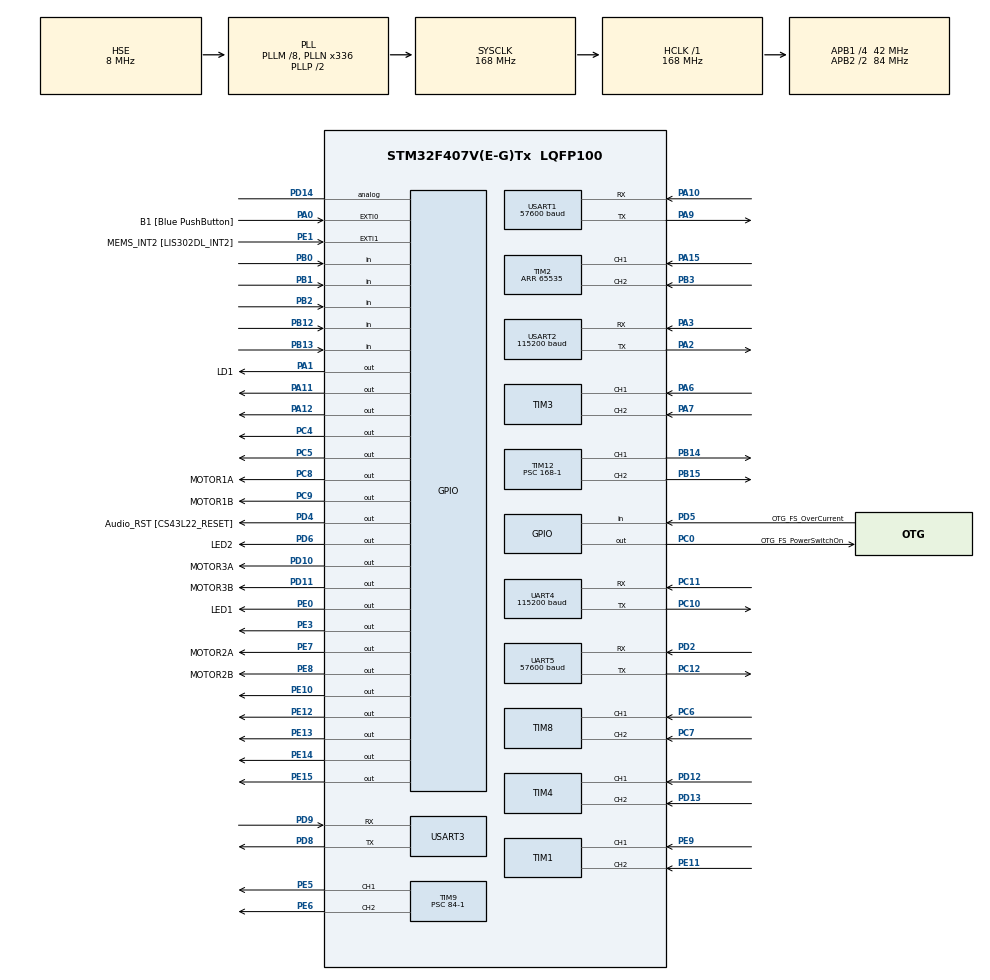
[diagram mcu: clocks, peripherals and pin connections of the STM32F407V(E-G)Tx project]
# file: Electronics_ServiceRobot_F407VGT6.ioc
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Dma.Request0=USART2_RX
Dma.Request1=UART5_RX
Dma.Request2=UART5_TX
Dma.Request3=UART4_RX
Dma.UART4_RX.3.Direction=DMA_PERIPH_TO_MEMORY
Dma.UART4_RX.3.FIFOMode=DMA_FIFOMODE_DISABLE
Dma.UART4_RX.3.Instance=DMA1_Stream2
Dma.UART4_RX.3.MemDataAlignment=DMA_MDATAALIGN_BYTE
Dma.UART4_RX.3.MemInc=DMA_MINC_ENABLE
Dma.UART4_RX.3.Mode=DMA_NORMAL
Dma.UART4_RX.3.PeriphDataAlignment=DMA_PDATAALIGN_BYTE
Dma.UART4_RX.3.PeriphInc=DMA_PINC_DISABLE
Dma.UART4_RX.3.Priority=DMA_PRIORITY_LOW
Dma.UART5_RX.1.Direction=DMA_PERIPH_TO_MEMORY
Dma.UART5_RX.1.FIFOMode=DMA_FIFOMODE_DISABLE
Dma.UART5_RX.1.Instance=DMA1_Stream0
Dma.UART5_RX.1.MemDataAlignment=DMA_MDATAALIGN_BYTE
Dma.UART5_RX.1.MemInc=DMA_MINC_ENABLE
Dma.UART5_RX.1.Mode=DMA_NORMAL
Dma.UART5_RX.1.PeriphDataAlignment=DMA_PDATAALIGN_BYTE
Dma.UART5_RX.1.PeriphInc=DMA_PINC_DISABLE
Dma.UART5_RX.1.Priority=DMA_PRIORITY_LOW
Dma.UART5_TX.2.Direction=DMA_MEMORY_TO_PERIPH
Dma.UART5_TX.2.FIFOMode=DMA_FIFOMODE_DISABLE
Dma.UART5_TX.2.Instance=DMA1_Stream7
Dma.UART5_TX.2.MemDataAlignment=DMA_MDATAALIGN_BYTE
Dma.UART5_TX.2.MemInc=DMA_MINC_ENABLE
Dma.UART5_TX.2.Mode=DMA_NORMAL
Dma.UART5_TX.2.PeriphDataAlignment=DMA_PDATAALIGN_BYTE
Dma.UART5_TX.2.PeriphInc=DMA_PINC_DISABLE
Dma.UART5_TX.2.Priority=DMA_PRIORITY_LOW
Dma.USART2_RX.0.Direction=DMA_PERIPH_TO_MEMORY
Dma.USART2_RX.0.FIFOMode=DMA_FIFOMODE_DISABLE
Dma.USART2_RX.0.Instance=DMA1_Stream5
Dma.USART2_RX.0.MemDataAlignment=DMA_MDATAALIGN_BYTE
Dma.USART2_RX.0.MemInc=DMA_MINC_ENABLE
Dma.USART2_RX.0.Mode=DMA_NORMAL
Dma.USART2_RX.0.PeriphDataAlignment=DMA_PDATAALIGN_BYTE
Dma.USART2_RX.0.PeriphInc=DMA_PINC_DISABLE
Dma.USART2_RX.0.Priority=DMA_PRIORITY_LOW
FREERTOS.Tasks01=joys_imuTask,0,128,Startjoys_imuTask,Default,NULL,Dynamic,NULL,NULL;rosserialTask,0,2048,StartrosserialTask,Default,NULL,Dynamic,NULL,NULL;out_motorTask,0,128,Startout_motorTask,Default,NULL,Dynamic,NULL,NULL
FREERTOS.configUSE_NEWLIB_REENTRANT=1
Mcu.Family=STM32F4
Mcu.Name=STM32F407V(E-G)Tx
Mcu.Package=LQFP100
NVIC.DMA1_Stream0_IRQn=true\:5\:0\:false\:false\:true\:true\:false\:true\:true
NVIC.DMA1_Stream2_IRQn=true\:5\:0\:false\:false\:true\:true\:false\:true\:true
NVIC.DMA1_Stream5_IRQn=true\:5\:0\:false\:false\:true\:true\:false\:true\:true
NVIC.DMA1_Stream7_IRQn=true\:5\:0\:false\:false\:true\:true\:false\:true\:true
NVIC.PriorityGroup=NVIC_PRIORITYGROUP_4
NVIC.TIM1_CC_IRQn=true\:5\:0\:false\:false\:true\:true\:true\:true\:true
NVIC.TIM2_IRQn=true\:5\:0\:false\:false\:true\:true\:true\:true\:true
NVIC.TIM3_IRQn=true\:5\:0\:false\:false\:true\:true\:true\:true\:true
NVIC.TIM4_IRQn=true\:5\:0\:false\:false\:true\:true\:true\:true\:true
NVIC.TIM6_DAC_IRQn=true\:15\:0\:false\:false\:true\:false\:false\:true\:true
NVIC.TIM7_IRQn=true\:5\:0\:false\:false\:true\:true\:true\:true\:true
NVIC.TIM8_CC_IRQn=true\:5\:0\:false\:false\:true\:true\:true\:true\:true
NVIC.TimeBase=TIM6_DAC_IRQn
NVIC.TimeBaseIP=TIM6
NVIC.UART4_IRQn=true\:5\:0\:false\:false\:true\:true\:true\:true\:true
NVIC.UART5_IRQn=true\:5\:0\:false\:false\:true\:true\:true\:true\:true
NVIC.USART1_IRQn=true\:5\:0\:false\:false\:true\:true\:true\:true\:true
NVIC.USART2_IRQn=true\:5\:0\:false\:false\:true\:true\:true\:true\:true
PA0-WKUP.GPIO_Label=B1 [Blue PushButton]
PA0-WKUP.GPIO_ModeDefaultEXTI=GPIO_MODE_EVT_RISING
PA0-WKUP.GPIO_PuPd=GPIO_NOPULL
PA0-WKUP.Signal=GPXTI0
PA1.GPIO_Label=LD1
PA1.Signal=GPIO_Output
PA10.Mode=Asynchronous
PA10.Signal=USART1_RX
PA11.Signal=GPIO_Output
PA12.Signal=GPIO_Output
PA13.GPIO_Label=SWDIO
PA13.Mode=Serial_Wire
PA13.Signal=SYS_JTMS-SWDIO
PA14.GPIO_Label=SWCLK
PA14.Mode=Serial_Wire
PA14.Signal=SYS_JTCK-SWCLK
PA15.Signal=S_TIM2_CH1_ETR
PA2.Mode=Asynchronous
PA2.Signal=USART2_TX
PA3.Mode=Asynchronous
PA3.Signal=USART2_RX
PA4.Signal=SPI1_NSS
PA6.Signal=S_TIM3_CH1
PA7.Signal=S_TIM3_CH2
PA9.Mode=Asynchronous
PA9.Signal=USART1_TX
PB0.Signal=GPIO_Input
PB1.Signal=GPIO_Input
PB12.Signal=GPIO_Input
PB13.Signal=GPIO_Input
PB14.Signal=S_TIM12_CH1
PB15.Signal=S_TIM12_CH2
PB2.Signal=GPIO_Input
PB3.Signal=S_TIM2_CH2
PB8.GPIO_Label=Audio_SCL [CS43L22_SCL]
PB8.GPIO_Mode=GPIO_MODE_AF_OD
PB8.GPIO_Pu=GPIO_PULLUP
PB8.GPIO_Speed=GPIO_SPEED_FREQ_LOW
PB8.Signal=I2C1_SCL
PB9.GPIO_Label=Audio_SDA [CS43L22_SDA]
PB9.GPIO_Mode=GPIO_MODE_AF_OD
PB9.GPIO_Pu=GPIO_PULLUP
PB9.GPIO_PuPd=GPIO_NOPULL
PB9.GPIO_Speed=GPIO_SPEED_FREQ_LOW
PB9.Signal=I2C1_SDA
PC0.GPIO_Label=OTG_FS_PowerSwitchOn
PC0.GPIO_PuPd=GPIO_NOPULL
PC0.GPIO_Speed=GPIO_SPEED_FREQ_LOW
PC0.PinState=GPIO_PIN_SET
PC0.Signal=GPIO_Output
PC1.Signal=ADCx_IN11
PC10.Mode=Asynchronous
PC10.Signal=UART4_TX
PC11.Mode=Asynchronous
PC11.Signal=UART4_RX
PC12.Mode=Asynchronous
PC12.Signal=UART5_TX
PC14-OSC32_IN.GPIO_Label=PC14-OSC32_IN
PC14-OSC32_IN.Mode=LSE-External-Oscillator
PC14-OSC32_IN.Signal=RCC_OSC32_IN
PC15-OSC32_OUT.GPIO_Label=PC15-OSC32_OUT
PC15-OSC32_OUT.Mode=LSE-External-Oscillator
PC15-OSC32_OUT.Signal=RCC_OSC32_OUT
PC2.Signal=ADCx_IN12
PC4.Signal=GPIO_Output
PC5.Signal=GPIO_Output
PC6.Signal=S_TIM8_CH1
PC7.Signal=S_TIM8_CH2
PC8.GPIO_Label=MOTOR1A
PC8.Signal=GPIO_Output
PC9.GPIO_Label=MOTOR1B
PC9.Signal=GPIO_Output
PD0.Signal=CAN1_RX
PD1.Signal=CAN1_TX
PD10.GPIO_Label=MOTOR3A
PD10.Signal=GPIO_Output
PD11.GPIO_Label=MOTOR3B
PD11.Signal=GPIO_Output
PD12.Signal=S_TIM4_CH1
PD13.Signal=S_TIM4_CH2
PD14.Signal=GPIO_Analog
PD2.Mode=Asynchronous
PD2.Signal=UART5_RX
PD4.GPIO_Label=Audio_RST [CS43L22_RESET]
PD4.GPIO_PuPd=GPIO_NOPULL
PD4.GPIO_Speed=GPIO_SPEED_FREQ_LOW
PD4.Signal=GPIO_Output
PD5.GPIO_Label=OTG_FS_OverCurrent
PD5.GPIO_Mode=GPIO_MODE_INPUT
PD5.GPIO_PuPd=GPIO_NOPULL
PD5.Signal=GPIO_Input
PD6.GPIO_Label=LED2
PD6.Signal=GPIO_Output
PD8.Mode=Asynchronous
PD8.Signal=USART3_TX
PD9.Mode=Asynchronous
PD9.Signal=USART3_RX
PE0.GPIO_Label=LED1
PE0.Signal=GPIO_Output
PE1.GPIO_Label=MEMS_INT2 [LIS302DL_INT2]
PE1.GPIO_ModeDefaultEXTI=GPIO_MODE_EVT_RISING
PE1.GPIO_PuPd=GPIO_NOPULL
PE1.Signal=GPXTI1
PE10.Signal=GPIO_Output
PE11.Signal=S_TIM1_CH2
PE12.Signal=GPIO_Output
PE13.Signal=GPIO_Output
PE14.Signal=GPIO_Output
PE15.Signal=GPIO_Output
PE3.Signal=GPIO_Output
PE5.Signal=S_TIM9_CH1
PE6.Signal=S_TIM9_CH2
PE7.GPIO_Label=MOTOR2A
PE7.Signal=GPIO_Output
PE8.GPIO_Label=MOTOR2B
PE8.Signal=GPIO_Output
PE9.Signal=S_TIM1_CH1
PH0-OSC_IN.GPIO_Label=PH0-OSC_IN
PH0-OSC_IN.Mode=HSE-External-Oscillator
PH0-OSC_IN.Signal=RCC_OSC_IN
PH1-OSC_OUT.GPIO_Label=PH1-OSC_OUT
PH1-OSC_OUT.Mode=HSE-External-Oscillator
PH1-OSC_OUT.Signal=RCC_OSC_OUT
ProjectManager.HeapSize=0x200
ProjectManager.StackSize=0x400
ProjectManager.TargetToolchain=STM32CubeIDE
RCC.48MHZClocksFreq_Value=48000000
RCC.AHBFreq_Value=168000000
RCC.APB1CLKDivider=RCC_HCLK_DIV4
RCC.APB1Freq_Value=42000000
RCC.APB1TimFreq_Value=84000000
RCC.APB2CLKDivider=RCC_HCLK_DIV2
RCC.APB2Freq_Value=84000000
RCC.APB2TimFreq_Value=168000000
RCC.CortexFreq_Value=168000000
RCC.HCLKFreq_Value=168000000
RCC.HSE_VALUE=8000000
RCC.HSI_VALUE=16000000
RCC.PLLM=8
RCC.PLLN=336
RCC.PLLQ=7
RCC.PLLSourceVirtual=RCC_PLLSOURCE_HSE
RCC.SYSCLKFreq_VALUE=168000000
RCC.SYSCLKSource=RCC_SYSCLKSOURCE_PLLCLK
RCC.VCOOutputFreq_Value=336000000
SH.ADCx_IN11.0=ADC1_IN11
SH.ADCx_IN12.0=ADC1_IN12
SH.S_TIM12_CH1.0=TIM12_CH1,PWM Generation1 CH1
SH.S_TIM12_CH2.0=TIM12_CH2,PWM Generation2 CH2
SH.S_TIM1_CH1.0=TIM1_CH1,Encoder_Interface
SH.S_TIM1_CH2.0=TIM1_CH2,Encoder_Interface
SH.S_TIM2_CH1_ETR.0=TIM2_CH1,Encoder_Interface
SH.S_TIM2_CH2.0=TIM2_CH2,Encoder_Interface
SH.S_TIM3_CH1.0=TIM3_CH1,Encoder_Interface
SH.S_TIM3_CH2.0=TIM3_CH2,Encoder_Interface
SH.S_TIM4_CH1.0=TIM4_CH1,Encoder_Interface
SH.S_TIM4_CH2.0=TIM4_CH2,Encoder_Interface
SH.S_TIM8_CH1.0=TIM8_CH1,Encoder_Interface
SH.S_TIM8_CH2.0=TIM8_CH2,Encoder_Interface
SH.S_TIM9_CH1.0=TIM9_CH1,PWM Generation1 CH1
SH.S_TIM9_CH2.0=TIM9_CH2,PWM Generation2 CH2
TIM1.CounterMode=TIM_COUNTERMODE_UP
TIM12.Channel-PWM\ Generation1\ CH1=TIM_CHANNEL_1
TIM12.Channel-PWM\ Generation2\ CH2=TIM_CHANNEL_2
TIM12.Period=200-1
TIM12.Prescaler=168-1
TIM13.Period=200-1
TIM13.Prescaler=168-1
TIM2.Period=65535
TIM7.Period=200-1
TIM7.Prescaler=4000-1
TIM8.CounterMode=TIM_COUNTERMODE_UP
TIM9.Channel-PWM\ Generation1\ CH1=TIM_CHANNEL_1
TIM9.Channel-PWM\ Generation2\ CH2=TIM_CHANNEL_2
TIM9.Period=200-1
TIM9.Prescaler=84-1
UART4.BaudRate=115200
UART4.VirtualMode=Asynchronous
UART5.BaudRate=57600
UART5.VirtualMode=Asynchronous
USART1.BaudRate=57600
USART1.VirtualMode=VM_ASYNC
USART2.BaudRate=115200
USART2.VirtualMode=VM_ASYNC
USART3.VirtualMode=VM_ASYNC
VP_FREERTOS_VS_CMSIS_V1.Mode=CMSIS_V1
VP_SYS_VS_tim6.Mode=TIM6
VP_TIM12_VS_ClockSourceINT.Mode=Internal
VP_TIM13_VS_ClockSourceINT.Mode=Enable_Timer
VP_TIM7_VS_ClockSourceINT.Mode=Enable_Timer
VP_TIM9_VS_ClockSourceINT.Mode=Internal
board=STM32F407G-DISC1

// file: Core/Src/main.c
/* USER CODE BEGIN Header */
/**
  ******************************************************************************
  * @file           : main.c
  * @brief          : Main program body
  ******************************************************************************
  * @attention
  *
  * Copyright (c) 2023 STMicroelectronics.
  * All rights reserved.
  *
  * This software is licensed under terms that can be found in the LICENSE file
  * in the root directory of this software component.
  * If no LICENSE file comes with this software, it is provided AS-IS.
  *
  ******************************************************************************
  */
/* USER CODE END Header */
#include "main.h"
#include "cmsis_os.h"
#include "dma.h"
#include "tim.h"
#include "usart.h"
#include "gpio.h"

/* USER CODE BEGIN Includes */
#include "math.h"
#include <control_motor.h>
#include "mainpp.h"
/* USER CODE END Includes */

/* USER CODE BEGIN PD */
//==================CONTROL MOTOR================//
float KP_motor = 3 ;
float KI_motor = 0 ;
float KD_motor = 0 ;
float PID_dt = 1 ;

float vel_x;
float vel_y;
float vel_th;

//================CONTROL MOTOR MODE RC================//
int encoder[3];
short int motor_velo[3];
short int motor_SetPoint[3];
float proportional_motor[3], integral_motor[3], derivative_motor[3];
float prev_enc[3], error_velo_motor[3], previous_error_velo_motor[3];
float outputPWM[3];

//=====================JOYSTICK RC==================//
uint8_t joystick_buf[13];
uint8_t joystick_x_buf, joystick_y_buf, joystick_z_buf;
int8_t joystick_x, joystick_y, joystick_z;
int joystick_bt_timeout = 300, joystick_bt_counter = 0;
int joystick_mode, mode;
int joystick_increase_speed, joystick_decrease_speed, speed, lock_increase_speed, lock_decrease_speed;

//====================IMU BNO055=====================//
char imu_buf[32];
float euler_x;
float euler_y;
float euler_z;
float quat_w;
float quat_x;
float quat_y;
float quat_z;

float gyro_angle_w = 90.0, gyro_offset_w = 90.0;
float gyro_angle_z = 90.0, gyro_offset_z = 90.0;

//====================ODOMETRY=========================//
int odometry[2];

float x_velocity;
float y_velocity;
float angular_velocity;

//================COMMMUNICATION ROSSERIAL================//
uint32_t tick;
float dummy;

/* USER CODE END PD */

void SystemClock_Config(void);
void MX_FREERTOS_Init(void);

/* USER CODE BEGIN 0 */
void HAL_TIM_IC_CaptureCallback(TIM_HandleTypeDef *htim){
	if(htim->Instance == TIM2){
		encoder[0] = __HAL_TIM_GET_COUNTER(&htim2);
	}
	if(htim->Instance == TIM3){
		encoder[1] = __HAL_TIM_GET_COUNTER(&htim3);
	}
	if(htim->Instance == TIM4){
		encoder[2] = __HAL_TIM_GET_COUNTER(&htim4);
	}

	if(htim->Instance == TIM1){
		odometry[0] = __HAL_TIM_GET_COUNTER(&htim1);
	}
	if(htim->Instance == TIM8){
		odometry[1] = __HAL_TIM_GET_COUNTER(&htim8);
	}
}

/* USER CODE END 0 */

int main(void)
{

  /* MCU Configuration--------------------------------------------------------*/

  /* Reset of all peripherals, Initializes the Flash interface and the Systick. */
///  HAL_Init();

  /* Configure the system clock */
  SystemClock_Config();

  /* Initialize all configured peripherals */
  MX_GPIO_Init();
  MX_DMA_Init();
  MX_TIM1_Init();
  MX_TIM9_Init();
  MX_TIM4_Init();
  MX_TIM3_Init();
  MX_UART4_Init();
  MX_USART3_UART_Init();
  MX_TIM12_Init();
  MX_USART2_UART_Init();
  MX_TIM2_Init();
  MX_TIM8_Init();
  MX_USART1_UART_Init();
  MX_TIM7_Init();
  MX_TIM13_Init();
  MX_UART5_Init();
  /* USER CODE BEGIN 2 */
  HAL_TIM_Base_Start_IT(&htim7);
  HAL_TIM_Base_Start_IT(&htim13);

  //============ACTUATOR MOTOR============
  HAL_TIM_PWM_Start(&htim9, TIM_CHANNEL_1);//M1
  HAL_TIM_PWM_Start(&htim9, TIM_CHANNEL_2);//M2
  HAL_TIM_PWM_Start(&htim12, TIM_CHANNEL_2);//M3

  //=============EXTERNAL PWM=============
  HAL_TIM_PWM_Start(&htim12, TIM_CHANNEL_1);//EXTERNAL PWM

  //=============ENCODER MOTOR============
  HAL_TIM_Encoder_Start_IT(&htim2,TIM_CHANNEL_ALL);
  HAL_TIM_Encoder_Start_IT(&htim3,TIM_CHANNEL_ALL);
  HAL_TIM_Encoder_Start_IT(&htim4,TIM_CHANNEL_ALL);

  HAL_TIM_Encoder_Start_IT(&htim1,TIM_CHANNEL_ALL);
  HAL_TIM_Encoder_Start_IT(&htim8,TIM_CHANNEL_ALL);
  /* USER CODE END 2 */

  /* Call init function for freertos objects (in freertos.c) */
  MX_FREERTOS_Init();

  /* Start scheduler */
  osKernelStart();

  /* We should never get here as control is now taken by the scheduler */
  /* Infinite loop */
  while (1)
  {

  }
}

void SystemClock_Config(void)
{
  RCC_OscInitTypeDef RCC_OscInitStruct = {0};
  RCC_ClkInitTypeDef RCC_ClkInitStruct = {0};

  /** Configure the main internal regulator output voltage
  */
  __HAL_RCC_PWR_CLK_ENABLE();
  __HAL_PWR_VOLTAGESCALING_CONFIG(PWR_REGULATOR_VOLTAGE_SCALE1);

  /** Initializes the RCC Oscillators according to the specified parameters
  * in the RCC_OscInitTypeDef structure.
  */
  RCC_OscInitStruct.OscillatorType = RCC_OSCILLATORTYPE_HSE;
  RCC_OscInitStruct.HSEState = RCC_HSE_ON;
  RCC_OscInitStruct.PLL.PLLState = RCC_PLL_ON;
  RCC_OscInitStruct.PLL.PLLSource = RCC_PLLSOURCE_HSE;
  RCC_OscInitStruct.PLL.PLLM = 8;
  RCC_OscInitStruct.PLL.PLLN = 336;
  RCC_OscInitStruct.PLL.PLLP = RCC_PLLP_DIV2;
  RCC_OscInitStruct.PLL.PLLQ = 7;
  if (HAL_RCC_OscConfig(&RCC_OscInitStruct) != HAL_OK)
  {
    Error_Handler();
  }

  /** Initializes the CPU, AHB and APB buses clocks
  */
  RCC_ClkInitStruct.ClockType = RCC_CLOCKTYPE_HCLK|RCC_CLOCKTYPE_SYSCLK
                              |RCC_CLOCKTYPE_PCLK1|RCC_CLOCKTYPE_PCLK2;
  RCC_ClkInitStruct.SYSCLKSource = RCC_SYSCLKSOURCE_PLLCLK;
  RCC_ClkInitStruct.AHBCLKDivider = RCC_SYSCLK_DIV1;
  RCC_ClkInitStruct.APB1CLKDivider = RCC_HCLK_DIV4;
  RCC_ClkInitStruct.APB2CLKDivider = RCC_HCLK_DIV2;

  if (HAL_RCC_ClockConfig(&RCC_ClkInitStruct, FLASH_LATENCY_5) != HAL_OK)
  {
    Error_Handler();
  }
}

void HAL_TIM_PeriodElapsedCallback(TIM_HandleTypeDef *htim)
{
  /* USER CODE BEGIN Callback 0 */
	if (htim->Instance == TIM7){
		motor_VeloControl();
	}
	if (htim->Instance == TIM13){
//		motor_VectorKinematic(joystick_x, joystick_y, joystick_z);
	}
  /* USER CODE END Callback 0 */
  if (htim->Instance == TIM6) {
    HAL_IncTick();
  }
}

void Error_Handler(void)
{
  __disable_irq();
  while (1)
  {
  }
}

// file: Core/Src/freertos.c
/* USER CODE BEGIN Header */
/**
  ******************************************************************************
  * File Name          : freertos.c
  * Description        : Code for freertos applications
  ******************************************************************************
  * @attention
  *
  * Copyright (c) 2023 STMicroelectronics.
  * All rights reserved.
  *
  * This software is licensed under terms that can be found in the LICENSE file
  * in the root directory of this software component.
  * If no LICENSE file comes with this software, it is provided AS-IS.
  *
  ******************************************************************************
  */
/* USER CODE END Header */

#include "FreeRTOS.h"
#include "task.h"
#include "main.h"
#include "cmsis_os.h"

/* USER CODE BEGIN Includes */
#include "dma.h"
#include "tim.h"
#include "usart.h"
#include "gpio.h"
#include "string.h"
#include "mainpp.h"
#include <control_motor.h>
/* USER CODE END Includes */

/* USER CODE BEGIN Variables */
//==================CONTROL MOTOR================//
extern float vel_x;
extern float vel_y;
extern float vel_th;
extern float outputPWM[3];

//=====================JOYSTICK RC==================//
extern uint8_t joystick_buf[13];
extern uint8_t joystick_x_buf, joystick_y_buf, joystick_z_buf;
extern int8_t joystick_x, joystick_y, joystick_z;
extern int  joystick_bt_timeout, joystick_bt_counter;
extern int joystick_mode, mode;
extern int joystick_increase_speed, joystick_decrease_speed, speed, lock_increase_speed, lock_decrease_speed;

//====================IMU BNO055=====================//
extern char imu_buf[32];
extern float euler_x;
extern float euler_y;
extern float euler_z;
extern float quat_w;
extern float quat_x;
extern float quat_y;
extern float quat_z;

extern float gyro_angle_w, gyro_offset_w;
extern float gyro_angle_z, gyro_offset_z;

//===============ODOMETRY================//
extern float x_velocity;
extern float y_velocity;
extern float angular_velocity;

//================COMMMUNICATION ROSSERIAL================//
extern uint32_t tick;

/* USER CODE END Variables */
osThreadId joys_imuTaskHandle;
osThreadId rosserialTaskHandle;
osThreadId out_motorTaskHandle;

void Startjoys_imuTask(void const * argument);
void StartrosserialTask(void const * argument);
void Startout_motorTask(void const * argument);

void MX_FREERTOS_Init(void); /* (MISRA C 2004 rule 8.1) */

/* GetIdleTaskMemory prototype (linked to static allocation support) */
void vApplicationGetIdleTaskMemory( StaticTask_t **ppxIdleTaskTCBBuffer, StackType_t **ppxIdleTaskStackBuffer, uint32_t *pulIdleTaskStackSize );

/* USER CODE BEGIN GET_IDLE_TASK_MEMORY */
static StaticTask_t xIdleTaskTCBBuffer;
static StackType_t xIdleStack[configMINIMAL_STACK_SIZE];

void vApplicationGetIdleTaskMemory( StaticTask_t **ppxIdleTaskTCBBuffer, StackType_t **ppxIdleTaskStackBuffer, uint32_t *pulIdleTaskStackSize )
{
  *ppxIdleTaskTCBBuffer = &xIdleTaskTCBBuffer;
  *ppxIdleTaskStackBuffer = &xIdleStack[0];
  *pulIdleTaskStackSize = configMINIMAL_STACK_SIZE;
  /* place for user code */
}
/* USER CODE END GET_IDLE_TASK_MEMORY */

void MX_FREERTOS_Init(void) {

  /* Create the thread(s) */
  /* definition and creation of joys_imuTask */
  osThreadDef(joys_imuTask, Startjoys_imuTask, osPriorityNormal, 0, 128);
  joys_imuTaskHandle = osThreadCreate(osThread(joys_imuTask), NULL);

  /* definition and creation of rosserialTask */
  osThreadDef(rosserialTask, StartrosserialTask, osPriorityNormal, 0, 2048);
  rosserialTaskHandle = osThreadCreate(osThread(rosserialTask), NULL);

  /* definition and creation of out_motorTask */
  osThreadDef(out_motorTask, Startout_motorTask, osPriorityNormal, 0, 128);
  out_motorTaskHandle = osThreadCreate(osThread(out_motorTask), NULL);

}

void Startjoys_imuTask(void const * argument)
{
  /* USER CODE BEGIN Startjoys_imuTask */
  /* Infinite loop */
  for(;;)
  {	  //JOYSTICK BLUETOOTH
	  if(joystick_bt_counter < joystick_bt_timeout){
		  if(HAL_UART_Receive_DMA(&huart2, joystick_buf, sizeof(joystick_buf)) != HAL_OK){
			  joystick_bt_counter++;
		  }
		  else{
			  joystick_bt_counter = 0;
		  }
	  }

	  if(joystick_bt_counter >= 299){
		  joystick_bt_counter = 299;
	  }

	  if(joystick_buf[0] == 'i' && joystick_buf[1] == 't' && joystick_buf[2] == 's'){
		  HAL_UART_Receive_DMA(&huart2, joystick_buf, sizeof(joystick_buf));

		  HAL_GPIO_WritePin(LED2_GPIO_Port, LED2_Pin, GPIO_PIN_SET);

		  memcpy(&joystick_y_buf, joystick_buf + 3, 1);
		  memcpy(&joystick_x_buf, joystick_buf + 4, 1);
		  memcpy(&joystick_z_buf, joystick_buf + 6, 1);

		  joystick_x_buf = constrain(joystick_x_buf, 0, 246);
		  joystick_y_buf = constrain(joystick_y_buf, 0, 246);
		  joystick_z_buf = constrain(joystick_z_buf, 0, 246);

		  joystick_x = map(joystick_x_buf, 0, 246, -123, 123);
		  joystick_y = map(joystick_y_buf, 0, 246, -123, 123);
		  joystick_z = map(joystick_z_buf, 0, 246, -123, 123);

		  joystick_mode = joystick_buf[7];
		  mode = joystick_buf[8];
		  joystick_increase_speed = joystick_buf[9];
		  joystick_decrease_speed = joystick_buf[10];
	  }
	  else{
		  HAL_UART_Receive_DMA(&huart2, joystick_buf, sizeof(joystick_buf));
		  joystick_x = 0;
		  joystick_y = 0;
		  joystick_z = 0;
		  HAL_GPIO_WritePin(LED2_GPIO_Port, LED2_Pin, GPIO_PIN_RESET);
	  }

	  if(joystick_bt_counter == 299){
		  joystick_x = 0;
		  joystick_y = 0;
		  joystick_z = 0;
		  HAL_GPIO_WritePin(LED2_GPIO_Port, LED2_Pin, GPIO_PIN_RESET);
	  }

	  //GYRO BNO055
	  HAL_UART_Receive_DMA(&huart4, imu_buf, sizeof(imu_buf));
	  if(imu_buf[0] == 'i' && imu_buf[1] == 't' && imu_buf[2] == 's'){
		  memcpy(&euler_x, imu_buf + 3, 4);
		  memcpy(&euler_y, imu_buf + 7, 4);
		  memcpy(&euler_z, imu_buf + 11, 4);
		  memcpy(&quat_w, imu_buf + 15, 4);
		  memcpy(&quat_x, imu_buf + 19, 4);
		  memcpy(&quat_y, imu_buf + 23, 4);
		  memcpy(&quat_z, imu_buf + 27, 4);
		  HAL_GPIO_WritePin(GPIOE, GPIO_PIN_13, GPIO_PIN_SET);
		  HAL_GPIO_WritePin(GPIOE, GPIO_PIN_14, GPIO_PIN_SET);

		  gyro_angle_w = (gyro_offset_w - euler_x);

		  while (gyro_angle_w > 180)
			  gyro_angle_w -= 360;
		  while (gyro_angle_w < -180)
			  gyro_angle_w += 360;

		  gyro_angle_z = (gyro_offset_z - euler_x);
		  while (gyro_angle_z > 180)
			  gyro_angle_z -= 360;
		  while (gyro_angle_z < -180)
			  gyro_angle_z += 360;

		  gyro_angle_w = gyro_angle_w * 0.01745329252;
		  gyro_angle_z = gyro_angle_z * 0.01745329252;

	  }else{
		  HAL_GPIO_WritePin(GPIOE, GPIO_PIN_13, GPIO_PIN_RESET);
		  HAL_GPIO_WritePin(GPIOE, GPIO_PIN_14, GPIO_PIN_RESET);
	  }

	  //CONTROL PC
	  x_velocity 		= map(vel_x, -1, 1, -123, 123);
	  y_velocity 		= map(vel_y, -1, 1, -123, 123);
	  angular_velocity 	= map(vel_th, -1, 1, -123, 123);

    osDelay(1);
  }
  /* USER CODE END Startjoys_imuTask */
}

void StartrosserialTask(void const * argument)
{
  /* USER CODE BEGIN StartrosserialTask */
	setup();
  /* Infinite loop */
  for(;;)
  {
//	  calculate_odometry();
//	  loop();
//    osDelay(20);
	  tick++;
	  loop();
	  osDelay(20);
  }
  /* USER CODE END StartrosserialTask */
}

void Startout_motorTask(void const * argument)
{
  /* USER CODE BEGIN Startout_motorTask */
  /* Infinite loop */
  for(;;)
  {
	  //=================CONTROL SPEED==================//
	  	  if(joystick_increase_speed == 1 && lock_increase_speed == 0){
	  		  speed++;
	  		  lock_increase_speed = 1;
	  	  }
	  	  if(joystick_increase_speed == 0 && lock_increase_speed == 1){
	  		  lock_increase_speed = 0;
	  	  }

	  	  if(joystick_decrease_speed == 1 && lock_decrease_speed == 0){
	  		  speed--;
	  		  lock_decrease_speed = 1;
	  	  }
	  	  if(joystick_decrease_speed == 0 && lock_decrease_speed == 1){
	  		  lock_decrease_speed = 0;
	    	  }

	  	  if(speed > 2){
	  		  speed = 0;
	  	  }
	  	  if(speed < 0){
	  		  speed = 2;
	  	  }

	  	  if(speed == 0){
	  		  HAL_GPIO_WritePin(GPIOE, GPIO_PIN_15, GPIO_PIN_SET);
	  		  HAL_GPIO_WritePin(GPIOA, GPIO_PIN_11, GPIO_PIN_RESET);
	  		  HAL_GPIO_WritePin(GPIOA, GPIO_PIN_12, GPIO_PIN_RESET);
	  	  }else if(speed == 1){
	  		  HAL_GPIO_WritePin(GPIOE, GPIO_PIN_15, GPIO_PIN_RESET);
	  		  HAL_GPIO_WritePin(GPIOA, GPIO_PIN_11, GPIO_PIN_SET);
	  		  HAL_GPIO_WritePin(GPIOA, GPIO_PIN_12, GPIO_PIN_RESET);
	  	  }else if(speed == 2){
	  		  HAL_GPIO_WritePin(GPIOE, GPIO_PIN_15, GPIO_PIN_RESET);
	  		  HAL_GPIO_WritePin(GPIOA, GPIO_PIN_11, GPIO_PIN_RESET);
	  		  HAL_GPIO_WritePin(GPIOA, GPIO_PIN_12, GPIO_PIN_SET);
	  	  }

	  	  //=====================SELECT MODE COMM/STM=================//
	  	  if(mode == 1){
	  		motor_VectorKinematic(angular_velocity, y_velocity, x_velocity);
	  	  }
	  	  else if(mode == 0){
	  		motor_VectorKinematic(joystick_z, joystick_y, joystick_x);
	  	  }
	  	  //========================OUTPUT PWM===========================//
	  	  if (outputPWM[1] < 0){
	  		  HAL_GPIO_WritePin(MOTOR1A_GPIO_Port, MOTOR1A_Pin, GPIO_PIN_SET);
	  		  HAL_GPIO_WritePin(MOTOR1B_GPIO_Port, MOTOR1B_Pin, GPIO_PIN_RESET);
	  	 	  }
	  	  else if (outputPWM[1] > 0){
	   		  HAL_GPIO_WritePin(MOTOR1A_GPIO_Port, MOTOR1A_Pin, GPIO_PIN_RESET);
	   		  HAL_GPIO_WritePin(MOTOR1B_GPIO_Port, MOTOR1B_Pin, GPIO_PIN_SET);
	   	  }
	   	  //==============================================================================
	   	  if (outputPWM[2] < 0){
	   		  HAL_GPIO_WritePin(MOTOR2A_GPIO_Port, MOTOR2A_Pin, GPIO_PIN_SET);
	   		  HAL_GPIO_WritePin(MOTOR2B_GPIO_Port, MOTOR2B_Pin, GPIO_PIN_RESET);
	   	  }
	   	  else if (outputPWM[2] > 0){
	   		  HAL_GPIO_WritePin(MOTOR2A_GPIO_Port, MOTOR2A_Pin, GPIO_PIN_RESET);
	   		  HAL_GPIO_WritePin(MOTOR2B_GPIO_Port, MOTOR2B_Pin, GPIO_PIN_SET);
	   	  }
	   	  //==============================================================================
	   	  if (outputPWM[0] < 0){
	   		  HAL_GPIO_WritePin(MOTOR3A_GPIO_Port, MOTOR3A_Pin, GPIO_PIN_SET);
	   		  HAL_GPIO_WritePin(MOTOR3B_GPIO_Port, MOTOR3B_Pin, GPIO_PIN_RESET);
	   	  }
	   	  else if (outputPWM[0] > 0)
	   	  {
	   		  HAL_GPIO_WritePin(MOTOR3A_GPIO_Port, MOTOR3A_Pin, GPIO_PIN_RESET);
	   		  HAL_GPIO_WritePin(MOTOR3B_GPIO_Port, MOTOR3B_Pin, GPIO_PIN_SET);
	   	  }

	   	  //========================SAFETY CONTROL PWM=====================//
	   	  if(joystick_bt_counter == 299 || joystick_mode == 0){
	   		  outputPWM[0] = 0;
	   		  outputPWM[1] = 0;
	   		  outputPWM[2] = 0;
	   	  }

	   	  __HAL_TIM_SET_COMPARE(&htim9, TIM_CHANNEL_1, abs(outputPWM[1]));
	   	  __HAL_TIM_SET_COMPARE(&htim9, TIM_CHANNEL_2, abs(outputPWM[2]));
	   	  __HAL_TIM_SET_COMPARE(&htim12, TIM_CHANNEL_2, abs(outputPWM[0]));

	   	  osDelay(1);
  }
  /* USER CODE END Startout_motorTask */
}
